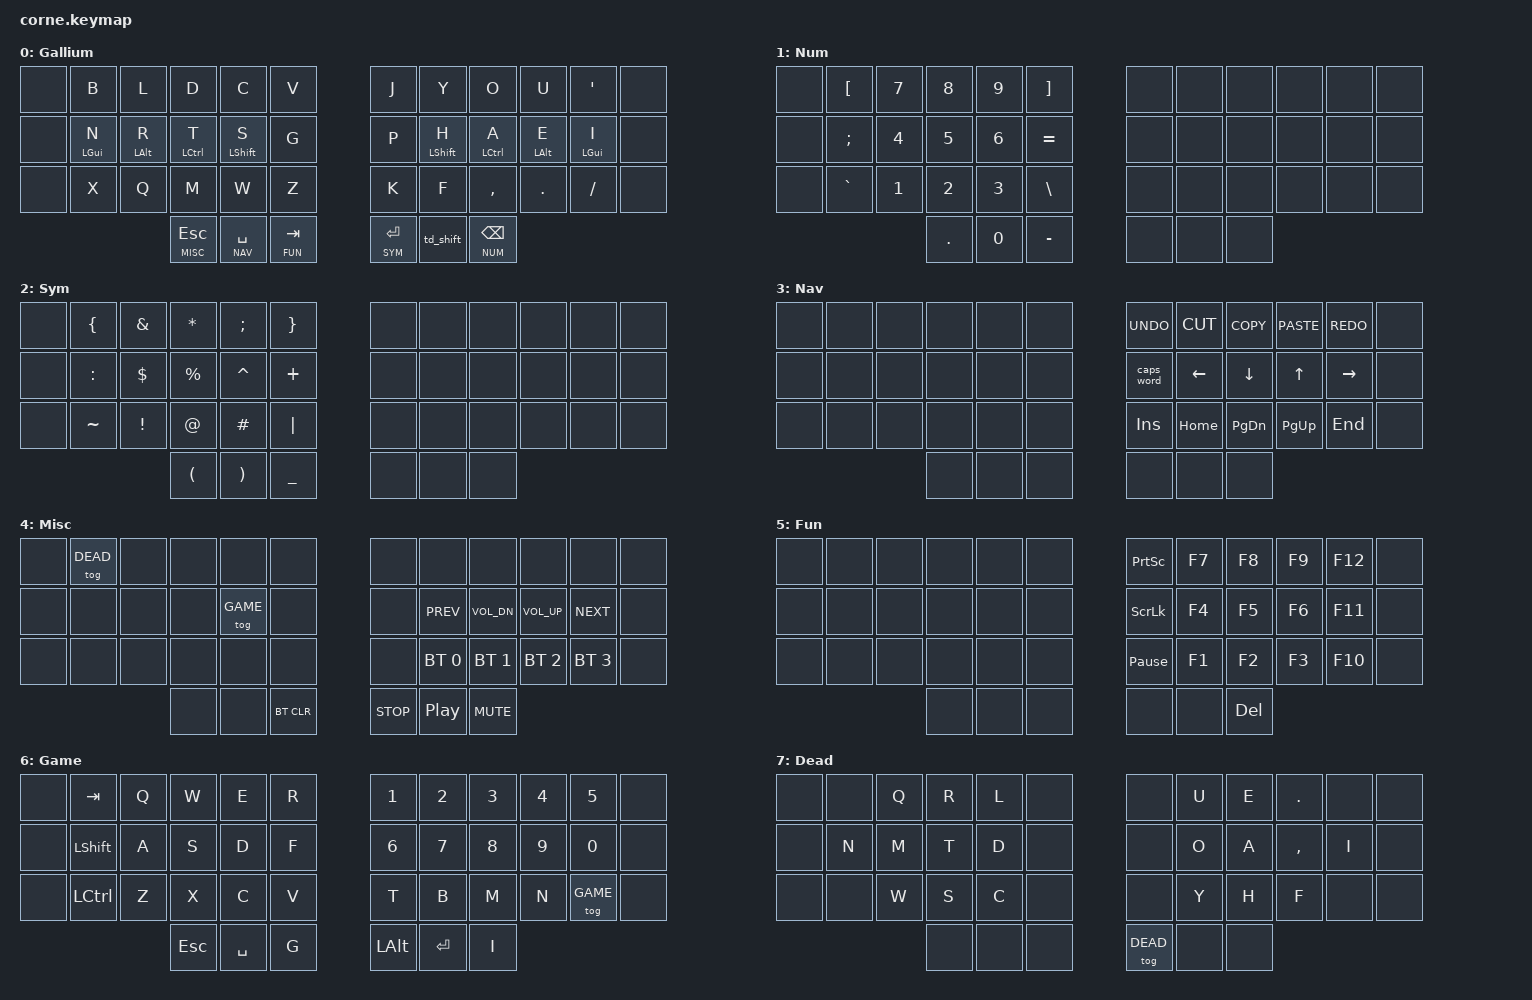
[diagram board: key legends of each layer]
#include <behaviors.dtsi>
#include <dt-bindings/zmk/keys.h>
#include <dt-bindings/zmk/bt.h>

// Layers
#define GALLIUM 0
#define NUM 1
#define SYM 2
#define NAV 3
#define MISC 4
#define FUN 5
#define GAME 6
#define DEAD 7

// Keep Caps Word active through hyphens as well as the defaults
&caps_word {
    continue-list = <UNDERSCORE MINUS BSPC DEL>;
};

/ {
    combos {
        compatible = "zmk,combos";

    //     combo_tab {
    //      timeout-ms = <20>;
    //      key-positions = <1 2>;
    //      bindings = <&kp TAB>;
    //     };

    //    combo_enter {
    //        timeout-ms = <20>;
    //        key-positions = <13 14>;
    //         bindings = <&kp ENTER>;
    //     };
    };

    macros {
        // spotlight: spotlight {
        //     label = "spotlight";
        //     compatible = "zmk,behavior-macro";
        //     #binding-cells = <0>;
        //     bindings = <&macro_press &kp LGUI>, <&macro_tap &kp SPACE>, <&macro_release &kp LGUI>; 
        // };

        // // Emoji
        // mac_emoji: mac_emoji {
        //     label = "mac_emoji";
        //     compatible = "zmk,behavior-macro";
        //     #binding-cells = <0>;
        //     bindings = <&macro_press &kp LGUI>, <&macro_press &kp LCTRL>, <&macro_tap &kp SPACE>, <&macro_release &kp LCTRL>, <&macro_release &kp LGUI>; 
        // };

        // win_emoji: win_emoji {
        //     label = "win_emoji";
        //     compatible = "zmk,behavior-macro";
        //     #binding-cells = <0>;
        //     bindings = <&macro_press &kp LGUI>, <&macro_tap &kp DOT>, <&macro_release &kp LGUI>; 
        // };
    };

    behaviors {
        // Left-hand home row mods - trigger hold on right-hand keys
        hml: home_row_mod_left {
            compatible = "zmk,behavior-hold-tap";
            #binding-cells = <2>;
            flavor = "balanced";
            require-prior-idle-ms = <150>;
            tapping-term-ms = <280>;
            quick-tap-ms = <175>;
            bindings = <&kp>, <&kp>;
            hold-trigger-key-positions = <6 7 8 9 10 11 18 19 20 21 22 23 30 31 32 33 34 35 39 40 41>;
            hold-trigger-on-release;
        };

        // Right-hand home row mods - trigger hold on left-hand keys
        hmr: home_row_mod_right {
            compatible = "zmk,behavior-hold-tap";
            #binding-cells = <2>;
            flavor = "balanced";
            require-prior-idle-ms = <150>;
            tapping-term-ms = <280>;
            quick-tap-ms = <175>;
            bindings = <&kp>, <&kp>;
            hold-trigger-key-positions = <0 1 2 3 4 5 12 13 14 15 16 17 24 25 26 27 28 29 36 37 38>;
            hold-trigger-on-release;
        };

        // Tap dance: one-shot shift on tap, caps_word on double tap
        td_shift: tap_dance_shift {
            compatible = "zmk,behavior-tap-dance";
            #binding-cells = <0>;
            tapping-term-ms = <200>;
            bindings = <&sk LSHFT>, <&caps_word>;
        };

        mylt: layer_tap {
            compatible = "zmk,behavior-hold-tap";
            #binding-cells = <2>;
            flavor = "balanced";
            tapping-term-ms = <200>;
            quick-tap-ms = <100>;
            bindings = <&mo>, <&kp>;
            display-name = "Layer-Tap";
        };
    };

    keymap {
        compatible = "zmk,keymap";

        default_layer {
            display-name = "Gallium";
            bindings = <
                &none      &kp B        &kp L           &kp D           &kp C           &kp V           &kp J       &kp Y           &kp O           &kp U       &kp SQT     &none
                &none      &hml LGUI N  &hml LALT R     &hml LCTRL T    &hml LSHFT S    &kp G           &kp P       &hmr LSHFT H    &hmr LCTRL A    &hmr LALT E &hmr LGUI I &none
                &none      &kp X        &kp Q           &kp M           &kp W           &kp Z           &kp K       &kp F           &kp COMMA       &kp PERIOD  &kp FSLH    &none
                                        &mylt MISC ESC  &mylt NAV SPACE &mylt FUN TAB   &mylt SYM ENTER &td_shift   &mylt NUM BSPC
            >;
        };

        num_layer {
            display-name = "Num";
            bindings = <
                &none      &kp LBKT   &kp N7     &kp N8     &kp N9     &kp RBKT        &none      &none      &none      &none      &none      &none
                &none      &kp SEMI   &kp N4     &kp N5     &kp N6     &kp EQUAL       &none      &none      &none      &none      &none      &none
                &none      &kp GRAVE  &kp N1     &kp N2     &kp N3     &kp BSLH        &none      &none      &none      &none      &none      &none
                                                 &kp DOT    &kp N0     &kp MINUS       &none      &none      &none
            >;
        };

        sym_layer {
            display-name = "Sym";
            bindings = <
                &none      &kp LBRC   &kp AMPS   &kp ASTRK  &kp SEMI   &kp RBRC        &none      &none      &none      &none      &none      &none
                &none      &kp COLON  &kp DLLR   &kp PRCNT  &kp CARET  &kp PLUS        &none      &none      &none      &none      &none      &none
                &none      &kp TILDE  &kp EXCL   &kp AT     &kp HASH   &kp PIPE        &none      &none      &none      &none      &none      &none
                                                 &kp LPAR   &kp RPAR   &kp UNDER       &none      &none      &none
            >;
        };

        nav_layer {
            display-name = "Nav";
            bindings = <
                &none      &none      &none      &none      &none      &none          &kp K_UNDO &kp K_CUT &kp K_COPY &kp K_PASTE  &kp K_REDO &none
                &none      &none      &none      &none      &none      &none          &caps_word &kp LEFT   &kp DOWN   &kp UP     &kp RIGHT  &none
                &none      &none      &none      &none      &none      &none          &kp INS    &kp HOME   &kp PG_DN  &kp PG_UP  &kp END    &none
                                                 &none      &none      &none          &none      &none      &none
            >;
        };

        misc_layer {
            display-name = "Misc";
            bindings = <
                &none      &tog DEAD      &none      &none      &none      &none          &none      &none        &none        &none        &none        &none
                &none      &none      &none      &none      &tog GAME  &none          &none      &kp C_PREV   &kp C_VOL_DN &kp C_VOL_UP &kp C_NEXT   &none
                &none      &none      &none      &none      &none      &none          &none      &bt BT_SEL 0 &bt BT_SEL 1 &bt BT_SEL 2 &bt BT_SEL 3 &none
                                                 &none      &none      &bt BT_CLR     &kp C_STOP &kp C_PP     &kp C_MUTE
            >;
        };

        fun_layer {
            display-name = "Fun";
            bindings = <
                &none      &none      &none      &none      &none      &none          &kp PSCRN       &kp F7     &kp F8     &kp F9     &kp F12    &none
                &none      &none      &none      &none      &none      &none          &kp SLCK        &kp F4     &kp F5     &kp F6     &kp F11    &none
                &none      &none      &none      &none      &none      &none          &kp PAUSE_BREAK &kp F1     &kp F2     &kp F3     &kp F10    &none
                                                 &none      &none      &none          &none           &none      &kp DEL
            >;
        };

        game_layer {
            display-name = "Game";
            bindings = <
                &none      &kp TAB    &kp Q      &kp W      &kp E      &kp R          &kp N1     &kp N2     &kp N3     &kp N4     &kp N5     &none
                &none      &kp LSHFT  &kp A      &kp S      &kp D      &kp F          &kp N6     &kp N7     &kp N8     &kp N9     &kp N0     &none
                &none      &kp LCTRL  &kp Z      &kp X      &kp C      &kp V          &kp T      &kp B      &kp M      &kp N      &tog GAME  &none
                                                 &kp ESC    &kp SPACE  &kp G          &kp LALT   &kp RET    &kp I
            >;
        };

        dead_layer {
            display-name = "Dead";
            bindings = <
                &none      &none    &kp Q      &kp R      &kp L      &none          &none     &kp U     &kp E     &kp PERIOD     &none     &none
                &none      &kp N  &kp M      &kp T      &kp D      &none          &none     &kp O     &kp A     &kp COMMA     &kp I     &none
                &none      &none  &kp W      &kp S      &kp C      &none         &none      &kp Y      &kp H     &kp F      &none  &none
                                                 &none &none &none          &tog DEAD   &none &none
            >;
        };
    };
};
